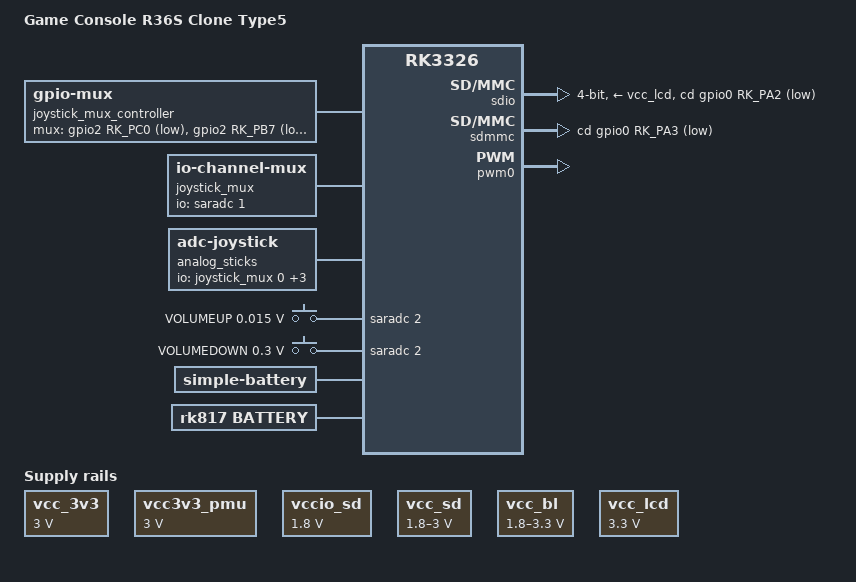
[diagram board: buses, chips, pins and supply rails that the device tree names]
// SPDX-License-Identifier: (GPL-2.0+ OR MIT)
/*
 * Arch R - R36S Clone Type5 (G80CA-MB) device tree for kernel 6.6
 *
 * Board profile for R36S clone variant "Type5" (G80CA-MB board).
 * Based on rk3326-odroid-go.dtsi (proven kernel 6.6 base).
 *
 * KEY DIFFERENCES from original R36S:
 *   - PMIC: 3.0V rails (vs 3.3V), extra LDO_REG1/LDO_REG9
 *   - Panel: different reset/enable GPIOs, 30MHz pixel clock, enable-gpios
 *   - Buttons: ALL on GPIO3 (B/C/D), thumbsticks on GPIO2 (B)
 *   - Volume: ADC-based (saradc ch2) instead of GPIO
 *   - USB OTG: disabled, vcc_host on GPIO2 PA4
 *   - Audio: no external amplifier (no spk-ctl-gpios, no use-ext-amplifier)
 *   - HP detect: GPIO2 PC6 (same as original, verified from BSP DTB)
 *   - Battery: 2775mAh (vs 3200mAh), lower charge current
 *   - SD: 100MHz max, different cd-gpios
 *   - No eMMC → SD = mmcblk0 (original has eMMC → SD = mmcblk1)
 *
 * Copyright (C) 2024-2026 Arch R Project
 */

/dts-v1/;
#include "rk3326-odroid-go.dtsi"

/ {
	model = "Game Console R36S Clone Type5";
	compatible = "gameconsole,r36s-clone-type5", "gameconsole,r36s",
		     "rockchip,rk3326";

	/* Clone has no eMMC — only SD via SDMMC controller */
	aliases {
		mmc0 = &sdmmc;  /* Primary SD slot (mmcblk0) */
	};

	/*
	 * ADC mux for dual analog sticks
	 * Clone mux GPIOs: A=GPIO2_PC0, B=GPIO2_PB7, EN=GPIO2_PB4
	 * (Verified from BSP DTB: phandle 0xbd = GPIO2 = ff260000)
	 * Channel mapping (from BSP): [2,3,1,0]
	 *   mux ch0 = Right Y, ch1 = Right X, ch2 = Left X, ch3 = Left Y
	 */
	joystick_mux_controller: mux-controller {
		compatible = "gpio-mux";
		pinctrl = <&mux_en_pins>;
		#mux-control-cells = <0>;
		mux-gpios = <&gpio2 RK_PC0 GPIO_ACTIVE_LOW>,
			    <&gpio2 RK_PB7 GPIO_ACTIVE_LOW>;
	};

	joystick_mux: adc-mux {
		compatible = "io-channel-mux";
		io-channels = <&saradc 1>;
		io-channel-names = "parent";
		#io-channel-cells = <1>;
		mux-controls = <&joystick_mux_controller>;
		channels = "0", "1", "2", "3";
	};

	analog_sticks: adc-joystick {
		compatible = "adc-joystick";
		io-channels = <&joystick_mux 0>,
			      <&joystick_mux 1>,
			      <&joystick_mux 2>,
			      <&joystick_mux 3>;
		poll-interval = <60>;
		#address-cells = <1>;
		#size-cells = <0>;

		/* Clone channel mapping: ch0=RY, ch1=RX, ch2=LX, ch3=LY */
		/* All axes inverted on clone (abs-range max < min) */
		axis@0 {
			reg = <0>;
			abs-flat = <32>;
			abs-fuzz = <32>;
			abs-range = <800 180>;
			linux,code = <ABS_RY>;
		};

		axis@1 {
			reg = <1>;
			abs-flat = <32>;
			abs-fuzz = <32>;
			abs-range = <800 180>;
			linux,code = <ABS_RX>;
		};

		axis@2 {
			reg = <2>;
			abs-flat = <32>;
			abs-fuzz = <32>;
			abs-range = <800 180>;
			linux,code = <ABS_X>;
		};

		axis@3 {
			reg = <3>;
			abs-flat = <32>;
			abs-fuzz = <32>;
			abs-range = <800 180>;
			linux,code = <ABS_Y>;
		};
	};

	/*
	 * Volume buttons: ADC-based on clone (saradc channel 2)
	 * Clone uses resistor ladder, not individual GPIO pins.
	 * Measured: Vol-up ADC ~9 (~16mV), Vol-down ADC ~166 (~292mV)
	 * Thresholds: closest-match algorithm, values near measured voltages.
	 * Reference: ROCKNIX rk3326-gameconsole-eeclone.dts
	 */
	adc-keys {
		compatible = "adc-keys";
		io-channels = <&saradc 2>;
		io-channel-names = "buttons";
		autorepeat;
		poll-interval = <100>;
		keyup-threshold-microvolt = <1800000>;

		button-vol-up {
			label = "VOLUMEUP";
			linux,code = <KEY_VOLUMEUP>;
			press-threshold-microvolt = <15000>;
		};

		button-vol-down {
			label = "VOLUMEDOWN";
			linux,code = <KEY_VOLUMEDOWN>;
			press-threshold-microvolt = <300000>;
		};
	};

	/* Battery: Clone has 2775mAh (vs 3200mAh on original) */
	battery: battery {
		compatible = "simple-battery";
		charge-full-design-microamp-hours = <2775000>;
		charge-term-current-microamp = <300000>;
		constant-charge-current-max-microamp = <800000>;
		constant-charge-voltage-max-microvolt = <4200000>;
		factory-internal-resistance-micro-ohms = <180000>;
		voltage-max-design-microvolt = <4100000>;
		voltage-min-design-microvolt = <3500000>;

		ocv-capacity-celsius = <20>;
		ocv-capacity-table-0 =  <4046950 100>, <4001920 95>, <3967900 90>, <3919950 85>,
					<3888450 80>, <3861850 75>, <3831540 70>, <3799130 65>,
					<3768190 60>, <3745650 55>, <3726610 50>, <3711630 45>,
					<3696720 40>, <3685660 35>, <3674950 30>, <3663050 25>,
					<3649470 20>, <3635260 15>, <3616920 10>, <3592440 5>,
					<3300000 0>;
	};

	/* Sound card: HP detect on GPIO2 PC6 (same as original, verified from BSP DTB) */
	rk817-sound {
		/delete-property/ simple-audio-card,routing;
		simple-audio-card,widgets = "Headphone", "Headphones";
		simple-audio-card,hp-det-gpio = <&gpio2 RK_PC6 GPIO_ACTIVE_LOW>;
		simple-audio-card,codec {
			sound-dai = <&rk817_codec>;
		};
	};

};

/* Override vcc_host: clone uses GPIO2 PA4 (vs GPIO0 PB7 on original) */
&vcc_host {
	gpio = <&gpio2 RK_PA4 GPIO_ACTIVE_HIGH>;
	pinctrl-0 = <&host_drv>;
	pinctrl-names = "default";
	/delete-property/ regulator-boot-on;
	/delete-property/ vin-supply;
};

/* ============================================================
 * Remove ODROID-specific nodes not present on clone
 * ============================================================ */
/delete-node/ &gpio_led;
/delete-node/ &pwm_led;

/* Delete ALL ODROID F-buttons (clone has different GPIOs) */
/delete-node/ &btn_f1;
/delete-node/ &btn_f2;
/delete-node/ &btn_f3;
/delete-node/ &btn_f4;
/delete-node/ &btn_f5;
/delete-node/ &btn_f6;

/* ============================================================
 * Clone gamepad buttons — ALL game buttons on GPIO3
 *
 * CRITICAL: BSP DTB phandle mapping (verified from register addresses):
 *   phandle 0x68 = ff270000 = GPIO3
 *   phandle 0xbd = ff260000 = GPIO2
 *
 * Clone Type5:    DPAD on GPIO3 C4-C7, ABXY on GPIO3 C0-C3,
 *                 shoulders on GPIO3 B2-B6, extras on GPIO3 D0-D1
 *                 thumbsticks on GPIO2 B5-B6
 *
 * Keycodes use standard BTN_* (same as original) for ES compatibility.
 * ============================================================ */
&builtin_gamepad {
	pinctrl-0 = <&btn_pins>;

	/* DPAD: clone uses GPIO3 */
	button-sw1 {
		gpios = <&gpio3 RK_PC6 GPIO_ACTIVE_LOW>;
		label = "DPAD-UP";
		linux,code = <BTN_DPAD_UP>;
	};

	button-sw2 {
		gpios = <&gpio3 RK_PC7 GPIO_ACTIVE_LOW>;
		label = "DPAD-DOWN";
		linux,code = <BTN_DPAD_DOWN>;
	};

	button-sw3 {
		gpios = <&gpio3 RK_PC4 GPIO_ACTIVE_LOW>;
		label = "DPAD-LEFT";
		linux,code = <BTN_DPAD_LEFT>;
	};

	button-sw4 {
		gpios = <&gpio3 RK_PC5 GPIO_ACTIVE_LOW>;
		label = "DPAD-RIGHT";
		linux,code = <BTN_DPAD_RIGHT>;
	};

	/* ABXY: clone has them on GPIO3 C0-C3 */
	button-sw5 {
		gpios = <&gpio3 RK_PC0 GPIO_ACTIVE_LOW>;
		label = "BTN_A";
		linux,code = <BTN_EAST>;
	};

	button-sw6 {
		gpios = <&gpio3 RK_PC1 GPIO_ACTIVE_LOW>;
		label = "BTN_B";
		linux,code = <BTN_SOUTH>;
	};

	button-sw7 {
		gpios = <&gpio3 RK_PC2 GPIO_ACTIVE_LOW>;
		label = "BTN_X";
		linux,code = <BTN_NORTH>;
	};

	button-sw8 {
		gpios = <&gpio3 RK_PC3 GPIO_ACTIVE_LOW>;
		label = "BTN_Y";
		linux,code = <BTN_WEST>;
	};

	/*
	 * Shoulders: override button-sw15/sw16 from base DTSI.
	 * Must use same node names to properly override base nodes.
	 */
	button-sw15 {
		gpios = <&gpio3 RK_PB5 GPIO_ACTIVE_LOW>;
		label = "TOP-LEFT";
		linux,code = <BTN_TL>;
	};

	button-sw16 {
		gpios = <&gpio3 RK_PB3 GPIO_ACTIVE_LOW>;
		label = "TOP-RIGHT";
		linux,code = <BTN_TR>;
	};

	/* Thumbstick buttons: on GPIO2 (verified from BSP DTB) */
	button-thumbl {
		gpios = <&gpio2 RK_PB5 GPIO_ACTIVE_LOW>;
		label = "BTN_THUMBL";
		linux,code = <BTN_THUMBL>;
	};

	button-thumbr {
		gpios = <&gpio2 RK_PB6 GPIO_ACTIVE_LOW>;
		label = "BTN_THUMBR";
		linux,code = <BTN_THUMBR>;
	};

	button-mode {
		gpios = <&gpio3 RK_PB2 GPIO_ACTIVE_LOW>;
		label = "BTN_MODE";
		linux,code = <BTN_MODE>;
	};

	button-select {
		gpios = <&gpio3 RK_PD0 GPIO_ACTIVE_LOW>;
		label = "SELECT";
		linux,code = <BTN_SELECT>;
	};

	button-start {
		gpios = <&gpio3 RK_PD1 GPIO_ACTIVE_LOW>;
		label = "START";
		linux,code = <BTN_START>;
	};

	button-tl2 {
		gpios = <&gpio3 RK_PB6 GPIO_ACTIVE_LOW>;
		label = "TOP-LEFT 2";
		linux,code = <BTN_TL2>;
	};

	button-tr2 {
		gpios = <&gpio3 RK_PB4 GPIO_ACTIVE_LOW>;
		label = "TOP-RIGHT 2";
		linux,code = <BTN_TR2>;
	};
};

/* ============================================================
 * Panel: Clone Type5 NV3052C 640x480 MIPI-DSI
 * Different GPIOs, timing, and init from original R36S
 * ============================================================ */
&internal_display {
	compatible = "simple-panel-dsi";
	reset-gpios = <&gpio3 RK_PD3 GPIO_ACTIVE_LOW>;
	enable-gpios = <&gpio3 RK_PA3 GPIO_ACTIVE_HIGH>;
	power-supply = <&vcc_lcd>;
	backlight = <&backlight>;

	prepare-delay-ms = <20>;
	reset-delay-ms = <20>;
	init-delay-ms = <20>;
	enable-delay-ms = <120>;
	disable-delay-ms = <20>;
	unprepare-delay-ms = <20>;

	width-mm = <153>;
	height-mm = <85>;

	dsi,flags = <0xa03>;
	dsi,format = <0>;
	dsi,lanes = <4>;

	/* Clone Type5 panel init sequence (NV3052C) */
	panel-init-sequence = [
		15 00 02 ff 30
		15 00 02 ff 52
		15 00 02 ff 01
		15 00 02 e3 00
		15 00 02 25 10
		15 00 02 28 6f
		15 00 02 29 01
		15 00 02 2a df
		15 00 02 2c 22
		15 00 02 c3 0f
		15 00 02 37 9c
		15 00 02 38 a7
		15 00 02 39 41
		15 00 02 80 20
		15 00 02 91 67
		15 00 02 92 67
		15 00 02 a0 55
		15 00 02 a1 50
		15 00 02 a3 58
		15 00 02 a4 9c
		15 00 02 a7 02
		15 00 02 a8 01
		15 00 02 a9 21
		15 00 02 aa fc
		15 00 02 ab 28
		15 00 02 ac 06
		15 00 02 ad 06
		15 00 02 ae 06
		15 00 02 af 03
		15 00 02 b0 08
		15 00 02 b1 26
		15 00 02 b2 28
		15 00 02 b3 28
		15 00 02 b4 03
		15 00 02 b5 08
		15 00 02 b6 26
		15 00 02 b7 08
		15 00 02 b8 26
		15 00 02 c0 00
		15 00 02 c1 00
		15 00 02 c2 00
		15 00 02 ff 30
		15 00 02 ff 52
		15 00 02 ff 02
		15 00 02 b0 02
		15 00 02 d0 02
		15 00 02 b1 0f
		15 00 02 d1 10
		15 00 02 b2 11
		15 00 02 d2 12
		15 00 02 b3 32
		15 00 02 d3 33
		15 00 02 b4 36
		15 00 02 d4 36
		15 00 02 b5 3c
		15 00 02 d5 3c
		15 00 02 b6 20
		15 00 02 d6 20
		15 00 02 b7 3e
		15 00 02 d7 3e
		15 00 02 b8 0e
		15 00 02 d8 0d
		15 00 02 b9 05
		15 00 02 d9 05
		15 00 02 ba 11
		15 00 02 da 12
		15 00 02 bb 11
		15 00 02 db 11
		15 00 02 bc 13
		15 00 02 dc 14
		15 00 02 bd 14
		15 00 02 dd 14
		15 00 02 be 16
		15 00 02 de 18
		15 00 02 bf 0e
		15 00 02 df 0f
		15 00 02 c0 17
		15 00 02 e0 17
		15 00 02 c1 07
		15 00 02 e1 08
		15 00 02 ff 30
		15 00 02 ff 52
		15 00 02 ff 03
		15 00 02 08 8a
		15 00 02 09 8b
		15 00 02 30 00
		15 00 02 31 00
		15 00 02 32 00
		15 00 02 33 00
		15 00 02 34 61
		15 00 02 35 d4
		15 00 02 36 24
		15 00 02 37 03
		15 00 02 40 86
		15 00 02 41 87
		15 00 02 42 84
		15 00 02 43 85
		15 00 02 44 11
		15 00 02 45 de
		15 00 02 46 dd
		15 00 02 47 11
		15 00 02 48 e0
		15 00 02 49 df
		15 00 02 50 82
		15 00 02 51 83
		15 00 02 52 80
		15 00 02 53 81
		15 00 02 54 11
		15 00 02 55 e2
		15 00 02 56 e1
		15 00 02 57 11
		15 00 02 58 e4
		15 00 02 59 e3
		15 00 02 82 0f
		15 00 02 83 0f
		15 00 02 84 00
		15 00 02 85 0f
		15 00 02 86 0f
		15 00 02 87 0e
		15 00 02 88 0e
		15 00 02 89 06
		15 00 02 8a 06
		15 00 02 8b 07
		15 00 02 8c 07
		15 00 02 8d 04
		15 00 02 8e 04
		15 00 02 8f 05
		15 00 02 90 05
		15 00 02 98 0f
		15 00 02 99 0f
		15 00 02 9a 00
		15 00 02 9b 0f
		15 00 02 9c 0f
		15 00 02 9d 0e
		15 00 02 9e 0e
		15 00 02 9f 06
		15 00 02 a0 06
		15 00 02 a1 07
		15 00 02 a2 07
		15 00 02 a3 04
		15 00 02 a4 04
		15 00 02 a5 05
		15 00 02 a6 05
		15 00 02 e0 02
		15 00 02 e1 52
		15 00 02 ff 30
		15 00 02 ff 52
		15 00 02 ff 00
		15 00 02 36 02
		05 c8 01 11
		05 64 01 29
	];

	panel-exit-sequence = [
		05 00 01 28
		05 00 01 10
	];

	display-timings {
		native-mode = <&timing0>;

		timing0: 60Hz {
			clock-frequency = <30000000>;
			hactive = <640>;
			vactive = <480>;
			hfront-porch = <168>;
			hsync-len = <8>;
			hback-porch = <161>;
			vfront-porch = <16>;
			vsync-len = <2>;
			vback-porch = <14>;
			hsync-active = <0>;
			vsync-active = <0>;
			de-active = <0>;
			pixelclk-active = <1>;
		};
	};
};

/* ============================================================
 * PMIC: system-power-controller for shutdown/reboot
 * Clone has different voltage rails (3.0V vs 3.3V on many)
 * NOTE: No pinctrl_rk8xx — causes kernel panic on kernel 6.6
 * ============================================================ */
&rk817 {
	rockchip,system-power-controller;

	battery {
		compatible = "rk817,battery";
		ocv_table = <3300 3592 3617 3635 3649 3663 3675
			     3686 3697 3712 3727 3746 3768 3799
			     3832 3862 3888 3920 3968 4002 4047>;
		design_capacity = <2775>;
		design_qmax = <3052>;
		bat_res = <101>;
		sleep_enter_current = <300>;
		sleep_exit_current = <300>;
		sleep_filter_current = <100>;
		power_off_thresd = <3500>;
		monitor_sec = <5>;
		sample_res = <10>;
		virtual_power = <1>;
		charge_stay_awake = <0>;
		fake_full_soc = <100>;
		nominal_voltage = <3800>;
	};
};

/* Clone USB: OTG port DISABLED (no OTG on clone hardware) */
&u2phy_otg {
	status = "disabled";
};

/*
 * UART2: MUST disable on clone — M1 pins (GPIO2 PB4/PB6) conflict
 * with button-tr2 and button-tl2. Console uses ttyFIQ0 (separate).
 * Without this, pinctrl fails for gpio-keys → ALL buttons dead.
 */
&uart2 {
	status = "disabled";
};

/* ============================================================
 * SDIO (second SD slot): different cd-gpio on clone
 * NOTE: Clone shares SDIO power supplies with panel/backlight
 * regulators. Keep it but adjust cd-gpio.
 * ============================================================ */
&sdio {
	bus-width = <4>;
	cap-sd-highspeed;
	card-detect-delay = <800>;
	cd-gpios = <&gpio0 RK_PA2 GPIO_ACTIVE_LOW>;
	disable-wp;
	vmmc-supply = <&vcc_lcd>;
	vqmmc-supply = <&vcc_bl>;
	status = "okay";
};

/* Primary SD slot: different cd-gpio on clone */
&sdmmc {
	cd-gpios = <&gpio0 RK_PA3 GPIO_ACTIVE_LOW>;
};

&pwm0 {
	status = "okay";
};

/* Backlight: same as original (PWM, 0-255 range) */
&backlight {
	brightness-levels = <
		  0   1   2   3   4   5   6   7
		  8   9  10  11  12  13  14  15
		 16  17  18  19  20  21  22  23
		 24  25  26  27  28  29  30  31
		 32  33  34  35  36  37  38  39
		 40  41  42  43  44  45  46  47
		 48  49  50  51  52  53  54  55
		 56  57  58  59  60  61  62  63
		 64  65  66  67  68  69  70  71
		 72  73  74  75  76  77  78  79
		 80  81  82  83  84  85  86  87
		 88  89  90  91  92  93  94  95
		 96  97  98  99 100 101 102 103
		104 105 106 107 108 109 110 111
		112 113 114 115 116 117 118 119
		120 121 122 123 124 125 126 127
		128 129 130 131 132 133 134 135
		136 137 138 139 140 141 142 143
		144 145 146 147 148 149 150 151
		152 153 154 155 156 157 158 159
		160 161 162 163 164 165 166 167
		168 169 170 171 172 173 174 175
		176 177 178 179 180 181 182 183
		184 185 186 187 188 189 190 191
		192 193 194 195 196 197 198 199
		200 201 202 203 204 205 206 207
		208 209 210 211 212 213 214 215
		216 217 218 219 220 221 222 223
		224 225 226 227 228 229 230 231
		232 233 234 235 236 237 238 239
		240 241 242 243 244 245 246 247
		248 249 250 251 252 253 254 255>;
	default-brightness-level = <200>;
};

/* ============================================================
 * Pinctrl: Clone button GPIO assignments
 * Game buttons on bank 3, thumbsticks on bank 2, mux on bank 2
 * ============================================================ */
&pinctrl {
	btns {
		btn_pins: btn-pins {
			rockchip,pins = /* GPIO3: all game buttons */
					<3 RK_PB2 RK_FUNC_GPIO &pcfg_pull_up>,
					<3 RK_PB3 RK_FUNC_GPIO &pcfg_pull_up>,
					<3 RK_PB4 RK_FUNC_GPIO &pcfg_pull_up>,
					<3 RK_PB5 RK_FUNC_GPIO &pcfg_pull_up>,
					<3 RK_PB6 RK_FUNC_GPIO &pcfg_pull_up>,
					<3 RK_PC0 RK_FUNC_GPIO &pcfg_pull_up>,
					<3 RK_PC1 RK_FUNC_GPIO &pcfg_pull_up>,
					<3 RK_PC2 RK_FUNC_GPIO &pcfg_pull_up>,
					<3 RK_PC3 RK_FUNC_GPIO &pcfg_pull_up>,
					<3 RK_PC4 RK_FUNC_GPIO &pcfg_pull_up>,
					<3 RK_PC5 RK_FUNC_GPIO &pcfg_pull_up>,
					<3 RK_PC6 RK_FUNC_GPIO &pcfg_pull_up>,
					<3 RK_PC7 RK_FUNC_GPIO &pcfg_pull_up>,
					<3 RK_PD0 RK_FUNC_GPIO &pcfg_pull_up>,
					<3 RK_PD1 RK_FUNC_GPIO &pcfg_pull_up>,
					/* GPIO2: thumbstick buttons */
					<2 RK_PB5 RK_FUNC_GPIO &pcfg_pull_up>,
					<2 RK_PB6 RK_FUNC_GPIO &pcfg_pull_up>;
		};
	};

	joystick {
		mux_en_pins: mux-pins {
			rockchip,pins = <2 RK_PB4 RK_FUNC_GPIO &pcfg_output_low>;
		};
	};

	usb {
		host_drv: host-drv {
			rockchip,pins = <2 RK_PA4 RK_FUNC_GPIO &pcfg_pull_none>;
		};
	};
};

&sfc {
	status = "disabled";
};

/* ============================================================
 * PMIC Regulator overrides for clone voltages
 * Clone runs at 3.0V on several rails (vs 3.3V on original)
 * ============================================================ */

/* DCDC_REG1 (vdd_logic): clone max is 1150mV (vs 1168mV original) */
&vdd_logic {
	regulator-max-microvolt = <1150000>;
};

/* DCDC_REG4: clone is vcc_3v0 (3.0V), original is vcc_3v3 (3.3V) */
&vcc_3v3 {
	regulator-name = "vcc_3v0";
	regulator-min-microvolt = <3000000>;
	regulator-max-microvolt = <3000000>;
};

/* LDO_REG4: clone is 3.0V (vs 3.3V on original) */
&vcc3v3_pmu {
	regulator-name = "vcc3v0_pmu";
	regulator-min-microvolt = <3000000>;
	regulator-max-microvolt = <3000000>;
};

/* LDO_REG5 (vccio_sd): clone is fixed 1.8V (original 1.8-3.3V) */
&vccio_sd {
	regulator-min-microvolt = <1800000>;
	regulator-max-microvolt = <1800000>;
};

/* LDO_REG6 (vcc_sd): clone 1.8-3.0V range (original 3.3V fixed) */
&vcc_sd {
	regulator-min-microvolt = <1800000>;
	regulator-max-microvolt = <3000000>;
	regulator-always-on;
};

/* LDO_REG7 (vcc_bl): clone allows wider range */
&vcc_bl {
	regulator-min-microvolt = <1800000>;
	regulator-max-microvolt = <3300000>;
	regulator-always-on;
	regulator-boot-on;
};

/* LDO_REG8 (vcc_lcd): clone is 3.3V (original 2.8V) */
&vcc_lcd {
	regulator-name = "vcc3v0_dvp";
	regulator-min-microvolt = <3300000>;
	regulator-max-microvolt = <3300000>;
	regulator-always-on;
	regulator-boot-on;
};

/* ============================================================
 * RK817 charger: clone has lower charge currents (800mA)
 * ============================================================ */
&rk817_charger {
	compatible = "rk817,charger";
	monitored-battery = <&battery>;
	extcon = <&u2phy>;
	min_input_voltage = <4500>;
	max_input_current = <800>;
	max_chrg_current = <800>;
	max_chrg_voltage = <4200>;
	chrg_term_mode = <0>;
	chrg_finish_cur = <300>;
	virtual_power = <0>;
	power_dc2otg = <0>;
	sample_res = <10>;
	otg5v_suspend_enable = <1>;
	gate_function_disable = <0>;
	dc_det_adc = <0>;
};

/* ============================================================
 * RK817 codec: Clone has NO external speaker amplifier
 * Unlike original R36S which needs spk-ctl-gpios and
 * use-ext-amplifier, the clone drives the speaker directly
 * from the codec's internal class-D output (or has an
 * always-on amplifier that doesn't need GPIO control).
 * ============================================================ */
&rk817_codec {
	compatible = "rockchip,rk817-codec";
	clocks = <&cru SCLK_I2S1_OUT>;
	clock-names = "mclk";
	#sound-dai-cells = <0>;
	spk-volume = <3>;
	hp-volume = <20>;
	/* No spk-ctl-gpios or use-ext-amplifier on clone */
};

/* CPU: full 1512MHz (same as original) */
&cpu0_opp_table {
	rockchip,avs = <1>;
};

/* DRAM: keep 786MHz disabled (clone hardware may not support it) */
/* &dmc_opp_table left at default: 786MHz disabled */

/* GPU: 520MHz max (no overclock — clone PMIC max is 1150mV not 1175mV) */
/* &gpu_opp_table left at default from rk3326.dtsi */

/* Fix GPU interrupt-names for Panfrost (same fix needed on clone) */
&gpu {
	interrupt-names = "gpu", "mmu", "job";
};
